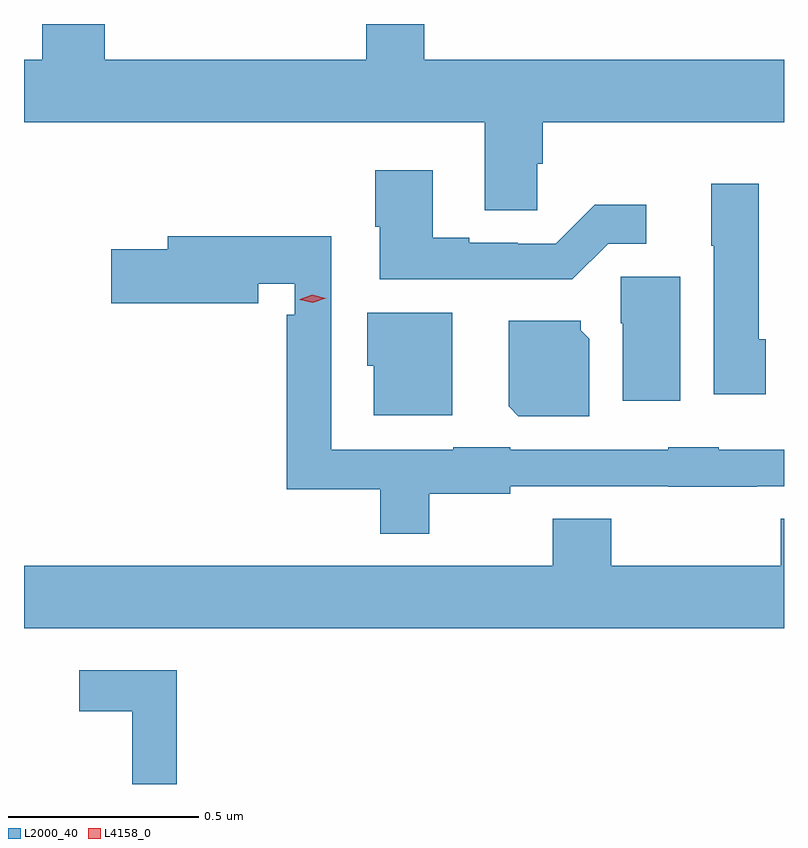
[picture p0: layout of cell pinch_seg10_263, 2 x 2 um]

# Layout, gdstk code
import gdstk
lib = gdstk.Library(unit=1e-6, precision=1e-09)
def P(c, l, *ps):  # polygons
    for p in ps: c.add(gdstk.Polygon(p, *l))
L2000_40 = (2000, 40)
L4158_0 = (4158, 0)

pinch_seg10_263 = lib.new_cell('pinch_seg10_263')
P(pinch_seg10_263, L2000_40, [(582.93,1294.878),(582.944,1294.878),(582.944,1294.988),(583.579,1294.988),(583.579,1295.152),(582.632,1295.152),(582.632,1295.246),(582.479,1295.246),(582.479,1295.152),(581.792,1295.152),(581.792,1295.246),(581.627,1295.246),(581.627,1295.152),(581.579,1295.152),(581.579,1294.988),(582.791,1294.988),(582.791,1294.756),(582.93,1294.756)],
  [(583.116,1294.668),(583.216,1294.668),(583.216,1294.771),(583.081,1294.771),(582.978,1294.668),(582.878,1294.668),(582.878,1294.671),(582.751,1294.671),(582.751,1294.684),(582.655,1294.684),(582.655,1294.861),(582.503,1294.861),(582.503,1294.713),(582.515,1294.713),(582.515,1294.574),(583.022,1294.574)],
  [(583.531,1294.416),(583.513,1294.416),(583.513,1294.825),(583.388,1294.825),(583.388,1294.662),(583.394,1294.662),(583.394,1294.272),(583.531,1294.272)],
  [(582.646,1294.01),(582.858,1294.01),(582.858,1294.029),(583.275,1294.029),(583.275,1294.028),(583.507,1294.028),(583.507,1294.029),(583.579,1294.029),(583.579,1294.126),(583.407,1294.126),(583.407,1294.132),(583.275,1294.132),(583.275,1294.125),(582.858,1294.125),(582.858,1294.132),(582.708,1294.132),(582.708,1294.126),(582.387,1294.126),(582.387,1294.687),(581.957,1294.687),(581.957,1294.653),(581.808,1294.653),(581.808,1294.511),(582.196,1294.511),(582.196,1294.562),(582.291,1294.562),(582.291,1294.481),(582.271,1294.481),(582.271,1294.022),(582.517,1294.022),(582.517,1293.905),(582.646,1293.905)],
  [(583.306,1294.581),(583.15,1294.581),(583.15,1294.458),(583.154,1294.458),(583.154,1294.254),(583.306,1294.254)],
  [(582.706,1294.486),(582.482,1294.486),(582.482,1294.347),(582.5,1294.347),(582.5,1294.217),(582.706,1294.217)],
  [(583.066,1294.418),(583.044,1294.44),(583.044,1294.465),(582.854,1294.465),(582.854,1294.24),(582.88,1294.214),(583.066,1294.214)],
  [(583.579,1293.944),(583.57,1293.944),(583.57,1293.82),(583.125,1293.82),(583.125,1293.944),(582.97,1293.944),(582.97,1293.82),(581.579,1293.82),(581.579,1293.656),(583.579,1293.656)],
  [(581.981,1293.546),(581.724,1293.546),(581.724,1293.438),(581.864,1293.438),(581.864,1293.246),(581.981,1293.246)])
P(pinch_seg10_263, L4158_0, [(582.339,1294.513),(582.304,1294.521),(582.304,1294.521),(582.304,1294.522),(582.338,1294.533),(582.373,1294.524),(582.374,1294.524),(582.373,1294.524)])

lib.write_gds('pinch_seg10_263.gds')
